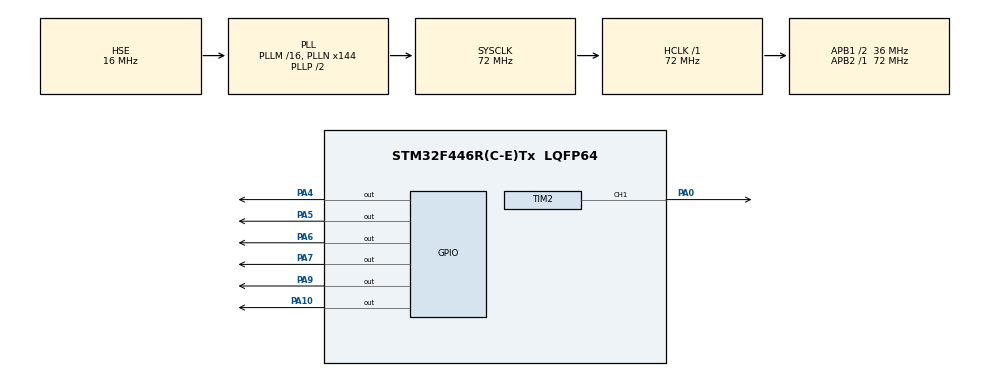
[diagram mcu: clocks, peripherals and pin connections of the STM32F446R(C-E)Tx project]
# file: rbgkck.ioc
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Dma.Request0=TIM2_CH1
Dma.TIM2_CH1.0.Direction=DMA_MEMORY_TO_PERIPH
Dma.TIM2_CH1.0.FIFOMode=DMA_FIFOMODE_DISABLE
Dma.TIM2_CH1.0.Instance=DMA1_Stream5
Dma.TIM2_CH1.0.MemDataAlignment=DMA_MDATAALIGN_WORD
Dma.TIM2_CH1.0.MemInc=DMA_MINC_ENABLE
Dma.TIM2_CH1.0.Mode=DMA_NORMAL
Dma.TIM2_CH1.0.PeriphDataAlignment=DMA_PDATAALIGN_WORD
Dma.TIM2_CH1.0.PeriphInc=DMA_PINC_DISABLE
Dma.TIM2_CH1.0.Priority=DMA_PRIORITY_LOW
Mcu.Family=STM32F4
Mcu.Name=STM32F446R(C-E)Tx
Mcu.Package=LQFP64
NVIC.DMA1_Stream5_IRQn=true\:0\:0\:false\:false\:true\:false\:true\:true
NVIC.PriorityGroup=NVIC_PRIORITYGROUP_4
PA0-WKUP.Signal=S_TIM2_CH1_ETR
PA10.Signal=GPIO_Output
PA4.Signal=GPIO_Output
PA5.Signal=GPIO_Output
PA6.Signal=GPIO_Output
PA7.Signal=GPIO_Output
PA9.Signal=GPIO_Output
PH0-OSC_IN.Mode=HSE-External-Clock-Source
PH0-OSC_IN.Signal=RCC_OSC_IN
PH1-OSC_OUT.Mode=HSE-External-Clock-Source
PH1-OSC_OUT.Signal=RCC_OSC_OUT
ProjectManager.HeapSize=0x200
ProjectManager.StackSize=0x400
ProjectManager.TargetToolchain=STM32CubeIDE
RCC.AHBFreq_Value=72000000
RCC.APB1CLKDivider=RCC_HCLK_DIV2
RCC.APB1Freq_Value=36000000
RCC.APB1TimFreq_Value=72000000
RCC.APB2Freq_Value=72000000
RCC.APB2TimFreq_Value=72000000
RCC.CortexFreq_Value=72000000
RCC.HCLKFreq_Value=72000000
RCC.HSE_VALUE=16000000
RCC.PLLN=144
RCC.PLLSourceVirtual=RCC_PLLSOURCE_HSE
RCC.SYSCLKFreq_VALUE=72000000
RCC.SYSCLKSource=RCC_SYSCLKSOURCE_PLLCLK
RCC.USBFreq_Value=72000000
RCC.VCOOutputFreq_Value=144000000
SH.S_TIM2_CH1_ETR.0=TIM2_CH1,PWM Generation1 CH1
TIM2.AutoReloadPreload=TIM_AUTORELOAD_PRELOAD_DISABLE
TIM2.Channel-PWM\ Generation1\ CH1=TIM_CHANNEL_1
TIM2.Period=90-1
VP_TIM2_VS_ClockSourceINT.Mode=Internal
board=custom

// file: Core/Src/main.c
/* USER CODE BEGIN Header */
/**
  ******************************************************************************
  * @file           : main.c
  * @brief          : Main program body
  ******************************************************************************
  * @attention
  *
  * Copyright (c) 2023 STMicroelectronics.
  * All rights reserved.
  *
  * This software is licensed under terms that can be found in the LICENSE file
  * in the root directory of this software component.
  * If no LICENSE file comes with this software, it is provided AS-IS.
  *
  ******************************************************************************
  */
/* USER CODE END Header */
#include "main.h"

TIM_HandleTypeDef htim2;
DMA_HandleTypeDef hdma_tim2_ch1;

void SystemClock_Config(void);
static void MX_GPIO_Init(void);
static void MX_DMA_Init(void);
static void MX_TIM2_Init(void);

/* USER CODE BEGIN 0 */
uint8_t datasentflag;
void HAL_TIM_PWM_PulseFinishedCallback(TIM_HandleTypeDef *htim)
{
	HAL_TIM_PWM_Stop_DMA(&htim2, TIM_CHANNEL_1);
	datasentflag=1;
}
#define maxled 3
uint8_t set[maxled][4];

void setledkck(uint8_t pin,uint8_t green,uint8_t red,uint8_t blue){
	set[pin][0]=pin;
	set[pin][1]=green;
	set[pin][2]=red;
	set[pin][3]=blue;
}
uint32_t  pwmkck[(maxled*24)+50];
void send(){
	int index=0;
	uint32_t all;
	for(int i=0;i<maxled;i++){
		all= set[i][1]<<16|set[i][2]<<8|set[i][3];
		for (int i=23;i>=0;i--){
			if(all&(1<<i))
				// 70 of total period on
				pwmkck[index]=28.8;
			else
				// 20 of total period on
				pwmkck[index]=14.4;
			index++;

		}

	}
	for(int i=0;i<50;i++){
		pwmkck[index]=0;
		index++;
	}

	HAL_TIM_PWM_Start_DMA(&htim2, TIM_CHANNEL_1,(uint32_t*)pwmkck, index);
	while (!datasentflag);
		datasentflag = 0;

}
/* USER CODE END 0 */

int main(void)
{

  /* MCU Configuration--------------------------------------------------------*/

  /* Reset of all peripherals, Initializes the Flash interface and the Systick. */
  HAL_Init();

  /* Configure the system clock */
  SystemClock_Config();

  /* Initialize all configured peripherals */
  MX_GPIO_Init();
  MX_DMA_Init();
  MX_TIM2_Init();
  /* USER CODE B{EGIN 2 */
void dis(int val){
  HAL_GPIO_WritePin(GPIOA, GPIO_PIN_9, 2&val);
  HAL_GPIO_WritePin(GPIOA, GPIO_PIN_10, 1&val);
  HAL_GPIO_WritePin(GPIOA, GPIO_PIN_7, 4&val);
  HAL_GPIO_WritePin(GPIOA, GPIO_PIN_6, 8&val);}

  // send();
  /* USER CODE END 2 */

  /* Infinite loop */
  /* USER CODE BEGIN WHILE */
setledkck(0,0,0,255);
while(1){
	send();
  //HAL_TIM_PWM_Start(&htim2, TIM_CHANNEL_1);
	HAL_GPIO_WritePin(GPIOA, GPIO_PIN_5, 1);

}

}
    /* USER CODE END WHILE */

void SystemClock_Config(void)
{
  RCC_OscInitTypeDef RCC_OscInitStruct = {0};
  RCC_ClkInitTypeDef RCC_ClkInitStruct = {0};

  /** Configure the main internal regulator output voltage
  */
  __HAL_RCC_PWR_CLK_ENABLE();
  __HAL_PWR_VOLTAGESCALING_CONFIG(PWR_REGULATOR_VOLTAGE_SCALE3);

  /** Initializes the RCC Oscillators according to the specified parameters
  * in the RCC_OscInitTypeDef structure.
  */
  RCC_OscInitStruct.OscillatorType = RCC_OSCILLATORTYPE_HSE;
  RCC_OscInitStruct.HSEState = RCC_HSE_BYPASS;
  RCC_OscInitStruct.PLL.PLLState = RCC_PLL_ON;
  RCC_OscInitStruct.PLL.PLLSource = RCC_PLLSOURCE_HSE;
  RCC_OscInitStruct.PLL.PLLM = 16;
  RCC_OscInitStruct.PLL.PLLN = 144;
  RCC_OscInitStruct.PLL.PLLP = RCC_PLLP_DIV2;
  RCC_OscInitStruct.PLL.PLLQ = 2;
  RCC_OscInitStruct.PLL.PLLR = 2;
  if (HAL_RCC_OscConfig(&RCC_OscInitStruct) != HAL_OK)
  {
    Error_Handler();
  }

  /** Initializes the CPU, AHB and APB buses clocks
  */
  RCC_ClkInitStruct.ClockType = RCC_CLOCKTYPE_HCLK|RCC_CLOCKTYPE_SYSCLK
                              |RCC_CLOCKTYPE_PCLK1|RCC_CLOCKTYPE_PCLK2;
  RCC_ClkInitStruct.SYSCLKSource = RCC_SYSCLKSOURCE_PLLCLK;
  RCC_ClkInitStruct.AHBCLKDivider = RCC_SYSCLK_DIV1;
  RCC_ClkInitStruct.APB1CLKDivider = RCC_HCLK_DIV2;
  RCC_ClkInitStruct.APB2CLKDivider = RCC_HCLK_DIV1;

  if (HAL_RCC_ClockConfig(&RCC_ClkInitStruct, FLASH_LATENCY_2) != HAL_OK)
  {
    Error_Handler();
  }
}

static void MX_TIM2_Init(void)
{

  TIM_ClockConfigTypeDef sClockSourceConfig = {0};
  TIM_MasterConfigTypeDef sMasterConfig = {0};
  TIM_OC_InitTypeDef sConfigOC = {0};

  htim2.Instance = TIM2;
  htim2.Init.Prescaler = 0;
  htim2.Init.CounterMode = TIM_COUNTERMODE_UP;
  htim2.Init.Period = 45-1;
  htim2.Init.ClockDivision = TIM_CLOCKDIVISION_DIV1;
  htim2.Init.AutoReloadPreload = TIM_AUTORELOAD_PRELOAD_DISABLE;
  if (HAL_TIM_Base_Init(&htim2) != HAL_OK)
  {
    Error_Handler();
  }
  sClockSourceConfig.ClockSource = TIM_CLOCKSOURCE_INTERNAL;
  if (HAL_TIM_ConfigClockSource(&htim2, &sClockSourceConfig) != HAL_OK)
  {
    Error_Handler();
  }
  if (HAL_TIM_PWM_Init(&htim2) != HAL_OK)
  {
    Error_Handler();
  }
  sMasterConfig.MasterOutputTrigger = TIM_TRGO_RESET;
  sMasterConfig.MasterSlaveMode = TIM_MASTERSLAVEMODE_DISABLE;
  if (HAL_TIMEx_MasterConfigSynchronization(&htim2, &sMasterConfig) != HAL_OK)
  {
    Error_Handler();
  }
  sConfigOC.OCMode = TIM_OCMODE_PWM1;
  sConfigOC.Pulse = 0;
  sConfigOC.OCPolarity = TIM_OCPOLARITY_HIGH;
  sConfigOC.OCFastMode = TIM_OCFAST_DISABLE;
  if (HAL_TIM_PWM_ConfigChannel(&htim2, &sConfigOC, TIM_CHANNEL_1) != HAL_OK)
  {
    Error_Handler();
  }
  HAL_TIM_MspPostInit(&htim2);

}

static void MX_DMA_Init(void)
{

  /* DMA controller clock enable */
  __HAL_RCC_DMA1_CLK_ENABLE();

  /* DMA interrupt init */
  /* DMA1_Stream5_IRQn interrupt configuration */
  HAL_NVIC_SetPriority(DMA1_Stream5_IRQn, 0, 0);
  HAL_NVIC_EnableIRQ(DMA1_Stream5_IRQn);

}

static void MX_GPIO_Init(void)
{
  GPIO_InitTypeDef GPIO_InitStruct = {0};

  /* GPIO Ports Clock Enable */
  __HAL_RCC_GPIOH_CLK_ENABLE();
  __HAL_RCC_GPIOA_CLK_ENABLE();

  /*Configure GPIO pin Output Level */
  HAL_GPIO_WritePin(GPIOA, GPIO_PIN_4|GPIO_PIN_5|GPIO_PIN_6|GPIO_PIN_7
                          |GPIO_PIN_9|GPIO_PIN_10, GPIO_PIN_RESET);

  /*Configure GPIO pins : PA4 PA5 PA6 PA7
                           PA9 PA10 */
  GPIO_InitStruct.Pin = GPIO_PIN_4|GPIO_PIN_5|GPIO_PIN_6|GPIO_PIN_7
                          |GPIO_PIN_9|GPIO_PIN_10;
  GPIO_InitStruct.Mode = GPIO_MODE_OUTPUT_PP;
  GPIO_InitStruct.Pull = GPIO_NOPULL;
  GPIO_InitStruct.Speed = GPIO_SPEED_FREQ_LOW;
  HAL_GPIO_Init(GPIOA, &GPIO_InitStruct);

}

void Error_Handler(void)
{
  __disable_irq();
  while (1)
  {
  }
}
